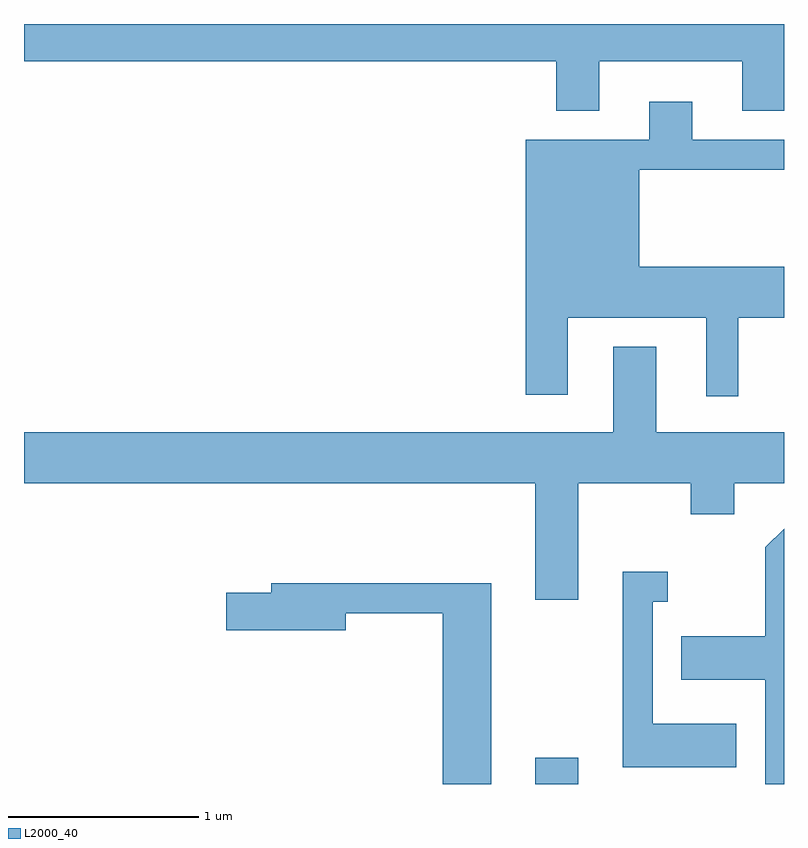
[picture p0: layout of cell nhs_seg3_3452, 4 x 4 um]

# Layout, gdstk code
import gdstk
lib = gdstk.Library(unit=1e-6, precision=1e-09)
def R(c, l, rs):  # rectangles x0, y0, x1, y1
    for r in rs: c.add(gdstk.rectangle(r[:2], r[2:], *l))
def P(c, l, *ps):  # polygons
    for p in ps: c.add(gdstk.Polygon(p, *l))
L2000_40 = (2000, 40)

nhs_seg3_3452 = lib.new_cell('nhs_seg3_3452')
R(nhs_seg3_3452, L2000_40, [(288.301,1219.892,288.529,1220.029)])
P(nhs_seg3_3452, L2000_40, [(288.639,1223.696),(289.391,1223.696),(289.391,1223.436),(289.611,1223.436),(289.611,1223.892),(285.611,1223.892),(285.611,1223.696),(288.411,1223.696),(288.411,1223.436),(288.639,1223.436)],
  [(289.369,1222.346),(289.611,1222.346),(289.611,1222.614),(288.849,1222.614),(288.849,1223.126),(289.611,1223.126),(289.611,1223.284),(289.129,1223.284),(289.129,1223.484),(288.901,1223.484),(288.901,1223.284),(288.251,1223.284),(288.251,1221.941),(288.474,1221.941),(288.474,1222.346),(289.201,1222.346),(289.201,1221.933),(289.369,1221.933)],
  [(285.611,1221.476),(288.301,1221.476),(288.301,1220.861),(288.529,1220.861),(288.529,1221.476),(289.121,1221.476),(289.121,1221.311),(289.349,1221.311),(289.349,1221.476),(289.611,1221.476),(289.611,1221.744),(288.939,1221.744),(288.939,1222.194),(288.711,1222.194),(288.711,1221.744),(285.611,1221.744)],
  [(289.611,1221.236),(289.511,1221.137),(289.511,1220.669),(289.071,1220.669),(289.071,1220.441),(289.511,1220.441),(289.511,1219.892),(289.611,1219.892)],
  [(289.359,1220.209),(288.919,1220.209),(288.919,1220.851),(288.998,1220.851),(288.998,1221.009),(288.761,1221.009),(288.761,1219.981),(289.359,1219.981)],
  [(288.069,1220.949),(286.911,1220.949),(286.911,1220.899),(286.676,1220.899),(286.676,1220.701),(287.304,1220.701),(287.304,1220.791),(287.816,1220.791),(287.816,1219.892),(288.069,1219.892)])

lib.write_gds('nhs_seg3_3452.gds')
